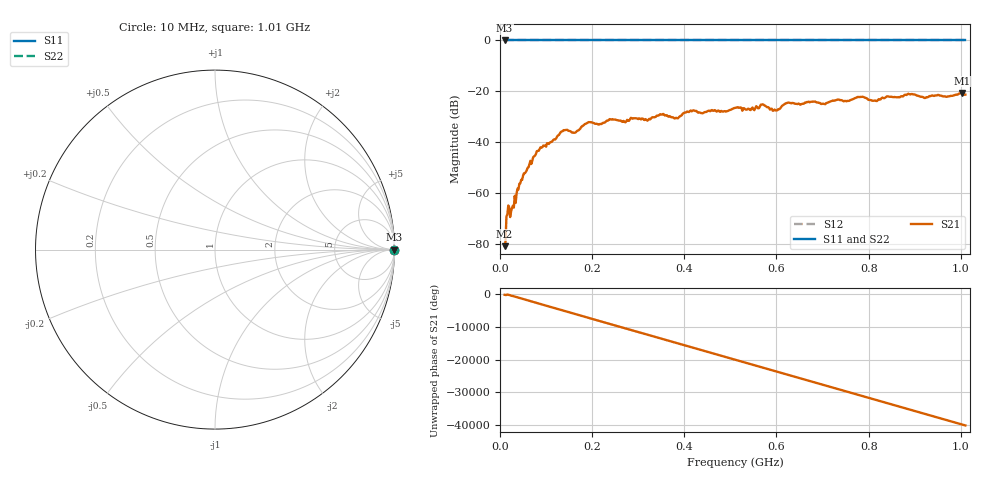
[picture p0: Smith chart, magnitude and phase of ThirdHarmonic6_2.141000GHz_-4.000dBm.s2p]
! 8/17/2025 1:34:20 AM
! C:\ANRITSUVNA\TEMP\TEMP.S2P
! CHANNEL.1
! TR.MEASUREMENT
! RAW.DATA
! RF.CORRECTION.OFF
! AVERAGING.OFF
! IF.BANDWIDTH: 5KHZ
! SWEEPTYPE:  FREQ.SWEEP(Linear)
! Reference Plane Port Info
! PORT:  PORT1  PORT2
! DISTANCE:  0  m  0  m
! TIME:  0  s  0  s
! PHASE.OFFSET:  0  deg.  0  deg.
! LOSS:  0  dB  0  dB
! REF.LOSS:  0  dB  0  dB
! REF.FREQ:  0  Hz  0  Hz
! Power Info
! POWER:  -20  dBm  -20  dBm
! EFF.POWER:  -20  dBm  -20  dBm
! SOURCE.ATTEN:  0  dB  0  dB
! TEST.ATTEN:  0  dB  0  dB
# GHZ S RI R 50.0
! FREQ.GHZ  S11RE  S11IM  S21RE  S21IM  S12RE  S12IM  S22RE  S22IM
!; PortSelection: Port_12
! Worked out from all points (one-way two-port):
!   501 points, 10 MHz to 1.01 GHz, reference 50 ohm
!   highest |S21| = -20.65 dB at 1.002 GHz (marker M1); lowest = -80.8 dB at 10 MHz (marker M2)
!   lowest |S11| = 0.0 dB at 10 MHz (marker M3)
!   |S11| at or under -10 dB: nowhere
!   |S22| runs from 0.0 to 0.0 dB; largest |S21 - S12| = 1.1
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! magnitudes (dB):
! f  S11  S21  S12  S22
! 10 MHz  0.0  -80.8  0.0  0.0
! 18 MHz  0.0  -64.8  0.0  0.0
! 26 MHz  0.0  -65.9  0.0  0.0
! 46 MHz  0.0  -54.8  0.0  0.0
! 76 MHz  0.0  -45.2  0.0  0.0
! 136 MHz  0.0  -35.7  0.0  0.0
! 160 MHz  0.0  -36.3  0.0  0.0
! 178 MHz  0.0  -33.7  0.0  0.0
! 194 MHz  0.0  -32.1  0.0  0.0
! 322 MHz  0.0  -31.2  0.0  0.0
! 344 MHz  0.0  -29.5  0.0  0.0
! 382 MHz  0.0  -30.4  0.0  0.0
! 416 MHz  0.0  -27.9  0.0  0.0
! 510 MHz  0.0  -26.5  0.0  0.0
! 570 MHz  0.0  -25.1  0.0  0.0
! 596 MHz  0.0  -27.2  0.0  0.0
! 624 MHz  0.0  -24.5  0.0  0.0
! 678 MHz  0.0  -24.1  0.0  0.0
! 814 MHz  0.0  -23.6  0.0  0.0
! 844 MHz  0.0  -22.1  0.0  0.0
! 1.002 GHz  0.0  -20.6  0.0  0.0
! 1.01 GHz  0.0  -21.3  0.0  0.0
